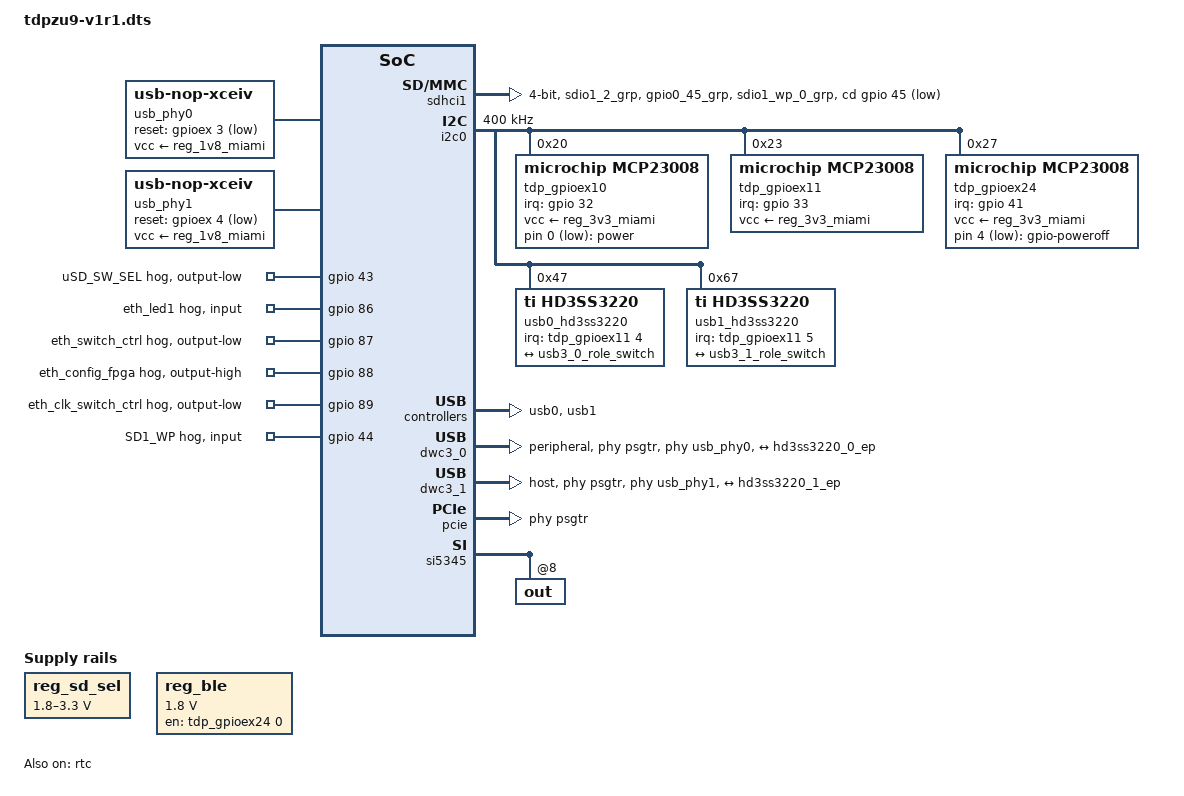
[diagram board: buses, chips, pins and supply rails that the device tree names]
/*
 * dts file for tdpzu9 (Topic Developmentkit Plus) v1r1 board without PL
 *
 * (C) Copyright 2020, Topic Embedded Products BV
 *
 * This program is free software; you can redistribute it and/or
 * modify it under the terms of the GNU General Public License as
 * published by the Free Software Foundation; either version 2 of
 * the License, or (at your option) any later version.
 */

#include "zynqmp-topic-miamiplusmp.dts"

/ {
	gpio-poweroff {
		compatible = "gpio-poweroff";
		gpios = <&tdp_gpioex24 4 GPIO_ACTIVE_LOW>;
		force-pm-power-off; /* Replace the PSCI power-off callback */
	};

	gpio-key-power {
		compatible = "gpio-keys";
		#address-cells = <1>;
		#size-cells = <0>;
		power {
			label = "power";
			gpios = <&tdp_gpioex10 0 GPIO_ACTIVE_LOW>; /* Input 0, active low */
			linux,code = <116>; /* KEY_POWER */
			gpio-key,wakeup;
		};
	};

	/* USB PHY reset IO pin */
	usb_phy0: usb2phy0 {
		compatible = "usb-nop-xceiv";
		vcc-supply = <&reg_1v8_miami>;
		#phy-cells = <0>;
		reset-gpios = <&gpioex 3 GPIO_ACTIVE_LOW>;
	};
	usb_phy1: usb2phy1 {
		compatible = "usb-nop-xceiv";
		vcc-supply = <&reg_1v8_miami>;
		#phy-cells = <0>;
		reset-gpios = <&gpioex 4 GPIO_ACTIVE_LOW>;
	};

	reg_sd_sel: reg-sd-sel {
		compatible = "regulator-gpio";
		regulator-name = "SD-SEL";
		regulator-min-microvolt = <1800000>;
		regulator-max-microvolt = <3300000>;
		gpios = <&gpio 42 0>;
		states = <3300000 0>, <1800000 1>; /* LOW = 3v3 */
		enable-active-high;
	};

	/* Enable for Bluetooth */
	reg_ble: regulator_ble {
		compatible = "regulator-fixed";
		regulator-name = "pwr-ble";
		regulator-min-microvolt = <1800000>;
		regulator-max-microvolt = <1800000>;
		enable-active-high;
		gpio = <&tdp_gpioex24 0 0>;
		startup-delay-us = <100>;
		/* No power control (yet), just turn it on please */
		regulator-always-on;
	};
};

/* SD1 */
&sdhci1 {
	status = "okay";
	bus-width = <4>;
	xlnx,mio_bank = <1>;
	pinctrl-names = "default";
	pinctrl-0 = <&pinctrl_sdhci1_default>;
	/* Use GPIO based card detect */
	cd-gpios = <&gpio 45 GPIO_ACTIVE_LOW>;
	/* Power supply to set IO voltage */
	vqmmc-supply = <&reg_sd_sel>;
	/delete-property/ disable-wp;
};

&i2c0 {
	status = "okay";
	clock-frequency = <400000>;

	/* GPIO expander U10 */
	tdp_gpioex10: mcp23009@20 {
		compatible = "microchip,mcp23008";
		reg = <0x20>;
		vcc-supply = <&reg_3v3_miami>;
		gpio-line-names = "PWR_BTN_IRQ_N", "PEWAKE0", "USB_OTG_OC_N0", "USB_OTG_OC_N1", "PRSNT_M2C_N0", "PRSNT_M2C_N1", "PG_M2C0", "PG_M2C1";
		gpio-controller;
		#gpio-cells = <2>;
		interrupt-controller;
		#interrupt-cells = <2>;
		interrupt-parent = <&gpio>;
		interrupts = <32 IRQ_TYPE_LEVEL_LOW>;
		pinctrl-names = "default";
		pinctrl-0 = <&gpio10pullups>;

		gpio10pullups: pinmux {
			pins =	"gpio0", "gpio1", "gpio2", "gpio3",
				"gpio4", "gpio5", "gpio6", "gpio7";
			bias-pull-up;
		};
	};

	/* GPIO expander U11 */
	tdp_gpioex11: mcp23009@23 {
		compatible = "microchip,mcp23008";
		reg = <0x23>;
		vcc-supply = <&reg_3v3_miami>;
		gpio-line-names = "USB_DIR0", "USB_DIR1", "NVC_FLT0", "NVC_FLT1", "USB_NINT0", "USB_NINT1", "USB_PRT0", "USB_PRT1";
		gpio-controller;
		#gpio-cells = <2>;
		interrupt-controller;
		#interrupt-cells = <2>;
		interrupt-parent = <&gpio>;
		interrupts = <33 IRQ_TYPE_LEVEL_LOW>;
		pinctrl-names = "default";
		pinctrl-0 = <&gpio11pullups>;

		gpio11pullups: pinmux {
			pins =	"gpio0", "gpio1", "gpio2", "gpio3",
				"gpio4", "gpio5", "gpio6", "gpio7";
			bias-pull-up;
		};

		/* DIR pins, need pull-up, configure as input for diagnostic */
		usb-dir0 {
			gpio-hog;
			gpios = <0 0>;
			input;
			line-name = "usb-dir0";
		};

		usb-dir1 {
			gpio-hog;
			gpios = <1 0>;
			input;
			line-name = "usb-dir1";
		};

		usb-flt0 {
			gpio-hog;
			gpios = <2 0>;
			input;
			line-name = "usb-flt0";
		};

		usb-flt1 {
			gpio-hog;
			gpios = <3 0>;
			input;
			line-name = "usb-flt1";
		};

		/* UFP/Sink – Upstream Facing Port */
		usb-port0 {
			gpio-hog;
			gpios = <6 0>;
			output-low;
			line-name = "usb-port0";
		};

		/* DFP/Source – Downstream Facing Port */
		usb-port1 {
			gpio-hog;
			gpios = <7 0>;
			output-high;
			line-name = "usb-port1";
		};
	};

	/* GPIO expander U24 */
	tdp_gpioex24: mcp23009@27 {
		compatible = "microchip,mcp23008";
		reg = <0x27>;
		vcc-supply = <&reg_3v3_miami>;
		gpio-line-names = "BT_EN", "WIFI_EN", "BT_HOST_WK", "BT_DEV_WK", "PWR_KILL_N", "SW1_4", "SW1_5", "SW1_6";
		gpio-controller;
		#gpio-cells = <2>;
		interrupt-controller;
		#interrupt-cells = <2>;
		interrupt-parent = <&gpio>;
		interrupts = <41 IRQ_TYPE_LEVEL_LOW>;
		pinctrl-names = "default";
		pinctrl-0 = <&gpio24pullups>;

		gpio24pullups: pinmux {
			pins =	"gpio0", "gpio1", "gpio2", "gpio3",
				"gpio4", "gpio5", "gpio6", "gpio7";
			bias-pull-up;
		};

		wifi-en {
			gpio-hog;
			gpios = <1 0>;
			output-low;
			line-name = "wifi-en";
		};
	};

	/* USB-C DRP port contoller */
	usb0_hd3ss3220: hd3ss3220@47 {
		compatible = "ti,hd3ss3220";
		reg = <0x47>;
		interrupt-parent = <&tdp_gpioex11>;
		interrupts = <4 IRQ_TYPE_LEVEL_LOW>;
		connector {
			compatible = "usb-c-connector";
			label = "USB-C-0";
			data-role = "sink";
			ports {
				#address-cells = <1>;
				#size-cells = <0>;
				port@1 {
					reg = <1>;
					hd3ss3220_0_ep: endpoint {
						remote-endpoint = <&usb3_0_role_switch>;
					};
				};
			};
		};
	};

	/* USB-C DRP port contoller */
	usb1_hd3ss3220: hd3ss3220@67 {
		compatible = "ti,hd3ss3220";
		reg = <0x67>;
		interrupt-parent = <&tdp_gpioex11>;
		interrupts = <5 IRQ_TYPE_LEVEL_LOW>;
		connector {
			compatible = "usb-c-connector";
			label = "USB-C-1";
			data-role = "source";
			ports {
				#address-cells = <1>;
				#size-cells = <0>;
				port@1 {
					reg = <1>;
					hd3ss3220_1_ep: endpoint {
						remote-endpoint = <&usb3_1_role_switch>;
					};
				};
			};
		};
	};
};

&uart1 {
	status = "disabled";
};

&usb0 {
	status = "okay";
};

&dwc3_0 {
	status = "okay";
	dr_mode = "peripheral"; /* "host", "peripheral" or "otg" */
	/* refclk0 from clock synth */
	assigned-clocks = <&si5345 0 3>;
	assigned-clock-rates = <100000000>;
	phy-names = "usb3-phy";
	phys = <&psgtr 1 PHY_TYPE_USB3 0 0>;
	maximum-speed = "super-speed";
	snps,usb3_lpm_capable;
	usb-phy = <&usb_phy0>;
	port {
		usb3_0_role_switch: endpoint {
			remote-endpoint = <&hd3ss3220_0_ep>;
		};
	};
};

&usb1 {
	status = "okay";
};

&dwc3_1 {
	status = "okay";
	dr_mode = "host";
	/* refclk0 from clock synth */
	assigned-clocks = <&si5345 0 3>;
	assigned-clock-rates = <100000000>;
	phy-names = "usb3-phy";
	phys = <&psgtr 3 PHY_TYPE_USB3 1 0>;
	maximum-speed = "super-speed";
	snps,usb3_lpm_capable;
	usb-phy = <&usb_phy1>;
	port {
		usb3_1_role_switch: endpoint {
			remote-endpoint = <&hd3ss3220_1_ep>;
		};
	};
};

&pcie {
	status = "okay";
	phys = <&psgtr 0 PHY_TYPE_PCIE 0 0>;
	/* refclk0 from clock synth */
	assigned-clocks      = <&si5345 0 3>;
	assigned-clock-rates =   <100000000>;
};

&gpio {
	/* SD 1v8 select signal, keep low for now to force 3v3 mode */
	usd-sw-sel {
		gpio-hog;
		gpios = <43 0>;
		output-low;
		line-name = "uSD_SW_SEL";
	};
	eth-led1 {
		gpio-hog;
		gpios = <86 0>; /* EMIO 8 */
		input;
		line-name = "eth_led1";
	};
	eth-switch-ctrl {
		gpio-hog;
		gpios = <87 0>; /* EMIO 9 */
		output-low;
		line-name = "eth_switch_ctrl";
	};
	eth-config-fpga {
		gpio-hog;
		gpios = <88 0>; /* EMIO 10 */
		output-high;
		line-name = "eth_config_fpga";
	};
	eth-clk-switch-ctrl {
		gpio-hog;
		gpios = <89 0>; /* EMIO 11 */
		output-low;
		line-name = "eth_clk_switch_ctrl";
	};
};

/* Carrier provides VBAT for RTC */
&rtc {
	status = "okay";
};

&gpio {
	sd1-wp {
		gpio-hog;
		gpios = <44 0>;
		input;
		line-name = "SD1_WP";
	};
};

&si5345 {
	out@8 {
		/delete-property/ always-on;
	};
};

&pinctrl0 {
	status = "okay";

	pinctrl_sdhci1_default: sdhci1-sd-default {
		/* SD using pins 46 .. 51 in 4-bit mode */
		mux {
			groups = "sdio1_2_grp";
			function = "sdio1";
		};
		conf {
			groups = "sdio1_2_grp";
			slew-rate = <SLEW_RATE_FAST>;
			io-standard = <IO_STANDARD_LVCMOS18>;
			bias-disable;
		};

		/* Card detect on pin 45 */
		mux-cd {
			groups = "gpio0_45_grp";
			function = "gpio0";
		};
		conf-cd {
			groups = "gpio0_45_grp";
			bias-high-impedance;
			slew-rate = <SLEW_RATE_SLOW>;
			io-standard = <IO_STANDARD_LVCMOS18>;
			bias-pull-up;
		};

		mux-wp {
			groups = "sdio1_wp_0_grp";
			function = "sdio1_wp";
		};

		conf-wp {
			groups = "sdio1_wp_0_grp";
			bias-high-impedance;
			bias-pull-up;
			slew-rate = <SLEW_RATE_SLOW>;
			io-standard = <IO_STANDARD_LVCMOS18>;
		};
	};
};
